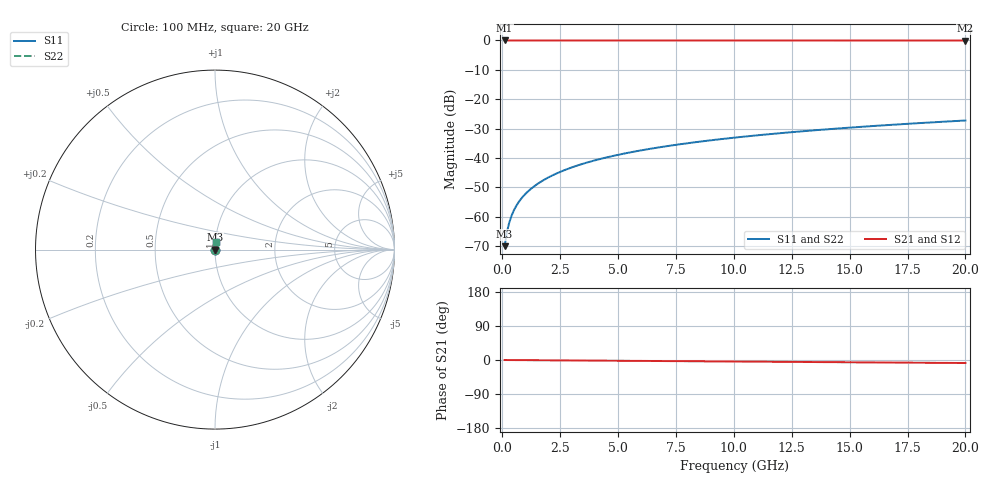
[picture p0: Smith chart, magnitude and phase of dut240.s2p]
! Touchstone file exported from HFSS 2026.1.0
!  File:  C:/ffzhzh/LocalFiles/Ansys_Project_Files/temp_train_TSV_240_1782992600_42984.aedt
!  Generated:  07:44:54 PM Jul  2, 2026
!  Design:  TSV
!  Project:  temp_train_TSV_240_1782992600_42984
! Variables:
!  h_bsmrdl = 2um
!  h_ox = 20um
!  h_rdl = 5um
!  h_sub = 73.21um
!  h_tmrdl = 5um
!  h_tsv = 73.21um
!  h_via = 3um
!  l_bsmrdl = 300um
!  l_sub = 415.22um
!  l_tmrdl = 200um
!  m_sub = 200um
!  pitch = 46.32um
!  r_tsv = 7.61um
!  s_tmrdl = 10um
!  w_bsmrdl = 18um
!  w_sub = 500um
!  w_tmrdl = 12um
!  x_tsv_center1 = 206um
!  x_tsv_center2 = 524um
!  x_tsv_center3 = 736um
!  x_tsv_center4 = 1054um
!  x_tsv_center5 = 1266um
!  x_tsv_center6 = 1584um
# GHz S MA R 50.000000
! Terminal data exported
! Port[1] = TSV1_1_T1
! Port[2] = TSV1_1_T2
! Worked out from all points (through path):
!   200 points, 100 MHz to 20 GHz, reference 50 ohm
!   highest |S21| = 0.00 dB at 100 MHz (marker M1); lowest = 0.0 dB at 20 GHz (marker M2)
!   group delay of S21, straight-line fit = 1.11 ps
!   lowest |S11| = -70.1 dB at 100 MHz (marker M3), VSWR 1.00, Z = 50 + j0.0258 ohm
!   |S11| at or under -10 dB: start of sweep to end of sweep
!   |S22| runs from -70.1 to -27.3 dB; largest |S21 - S12| = 1.5e-15
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0.1  0.0003143 55.0  0.9998 -0.0  0.9998 -0.0  0.0003143 55.0
! Gamma 0 0 0 0
! Port Impedance 50 0 50 0
0.2  0.0005473 69.7  0.9998 -0.1  0.9998 -0.1  0.0005473 69.7
0.3  0.0007924 74.9  0.9998 -0.1  0.9998 -0.1  0.0007924 74.9
0.4  0.001037 77.4  0.9998 -0.2  0.9998 -0.2  0.001037 77.4
0.5  0.00128 78.9  0.9998 -0.2  0.9998 -0.2  0.00128 78.9
0.6  0.001518 79.7  0.9997 -0.3  0.9997 -0.3  0.001518 79.7
0.7  0.001753 80.4  0.9997 -0.3  0.9997 -0.3  0.001753 80.4
0.8  0.001985 80.8  0.9997 -0.3  0.9997 -0.3  0.001985 80.8
1  0.002442 81.5  0.9997 -0.4  0.9997 -0.4  0.002442 81.5
1.4  0.003339 82.5  0.9996 -0.6  0.9996 -0.6  0.003339 82.5
1.7  0.004008 83.1  0.9996 -0.7  0.9996 -0.7  0.004008 83.1
2  0.004674 83.5  0.9995 -0.8  0.9995 -0.8  0.004674 83.5
2.7  0.006226 84.0  0.9995 -1.1  0.9995 -1.1  0.006226 84.0
3.5  0.007994 84.3  0.9994 -1.4  0.9994 -1.4  0.007994 84.3
4.2  0.009533 84.4  0.9993 -1.7  0.9993 -1.7  0.009533 84.4
5  0.01128 84.4  0.9992 -2.0  0.9992 -2.0  0.01128 84.4
6.8  0.0152 84.1  0.9991 -2.7  0.9991 -2.7  0.0152 84.1
8.3  0.01844 83.8  0.9989 -3.3  0.9989 -3.3  0.01844 83.8
10.1  0.02231 83.3  0.9987 -4.1  0.9987 -4.1  0.02231 83.3
13.4  0.02937 82.4  0.9984 -5.4  0.9984 -5.4  0.02937 82.4
16.7  0.03639 81.3  0.998 -6.7  0.998 -6.7  0.03639 81.3
20  0.04336 80.1  0.9976 -8.0  0.9976 -8.0  0.04336 80.1
